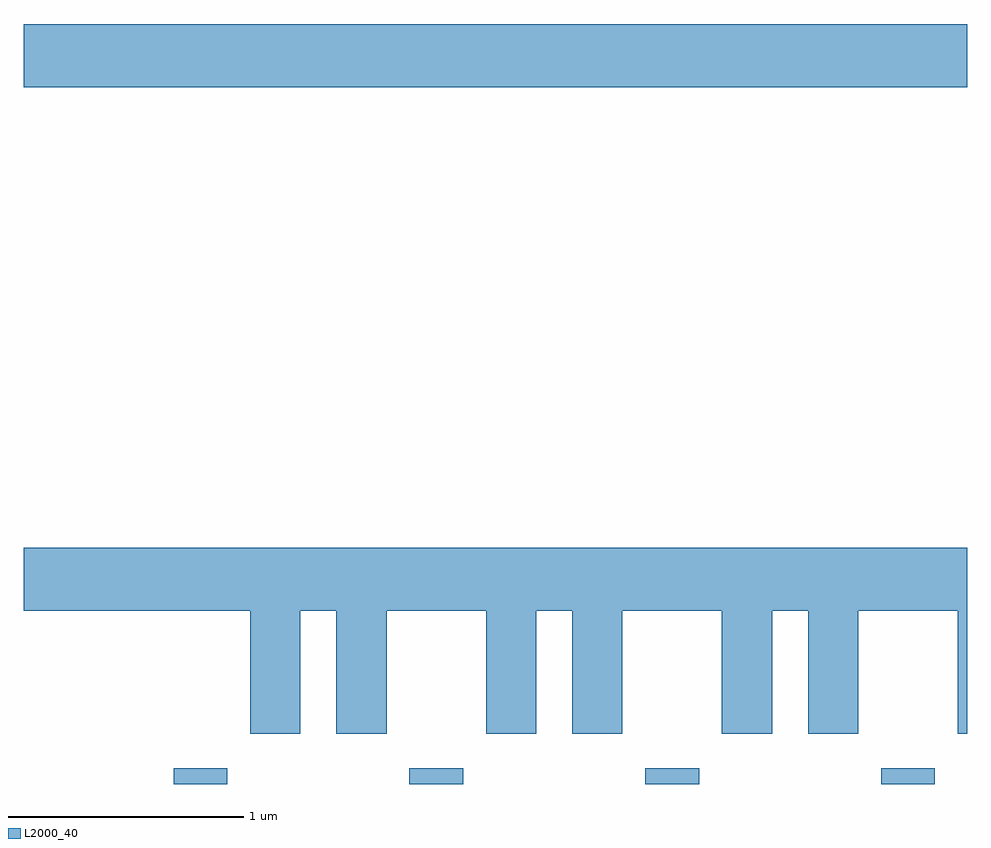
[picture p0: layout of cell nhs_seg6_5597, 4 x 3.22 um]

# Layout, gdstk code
import gdstk
lib = gdstk.Library(unit=1e-6, precision=1e-09)
def R(c, l, rs):  # rectangles x0, y0, x1, y1
    for r in rs: c.add(gdstk.rectangle(r[:2], r[2:], *l))
def A(c, l, x, y, w, h, nx, ny, dx, dy):  # array of equal rectangles
    R(c, l, [(x+i*dx, y+j*dy, x+i*dx+w, y+j*dy+h) for i in range(nx) for j in range(ny)])
def P(c, l, *ps):  # polygons
    for p in ps: c.add(gdstk.Polygon(p, *l))
L2000_40 = (2000, 40)

nhs_seg6_5597 = lib.new_cell('nhs_seg6_5597')
A(nhs_seg6_5597, L2000_40, 356.246, 1578.162, 0.228, 0.067, 4, 1, 1, 0)
R(nhs_seg6_5597, L2000_40, [(355.611,1581.116,359.611,1581.384)])
P(nhs_seg6_5597, L2000_40, [(356.784,1578.896),(356.936,1578.896),(356.936,1578.376),(357.149,1578.376),(357.149,1578.896),(357.571,1578.896),(357.571,1578.376),(357.784,1578.376),(357.784,1578.896),(357.936,1578.896),(357.936,1578.376),(358.149,1578.376),(358.149,1578.896),(358.571,1578.896),(358.571,1578.376),(358.784,1578.376),(358.784,1578.896),(358.936,1578.896),(358.936,1578.376),(359.149,1578.376),(359.149,1578.896),(359.571,1578.896),(359.571,1578.376),(359.611,1578.376),(359.611,1579.164),(355.611,1579.164),(355.611,1578.896),(356.571,1578.896),(356.571,1578.376),(356.784,1578.376)])

lib.write_gds('nhs_seg6_5597.gds')
